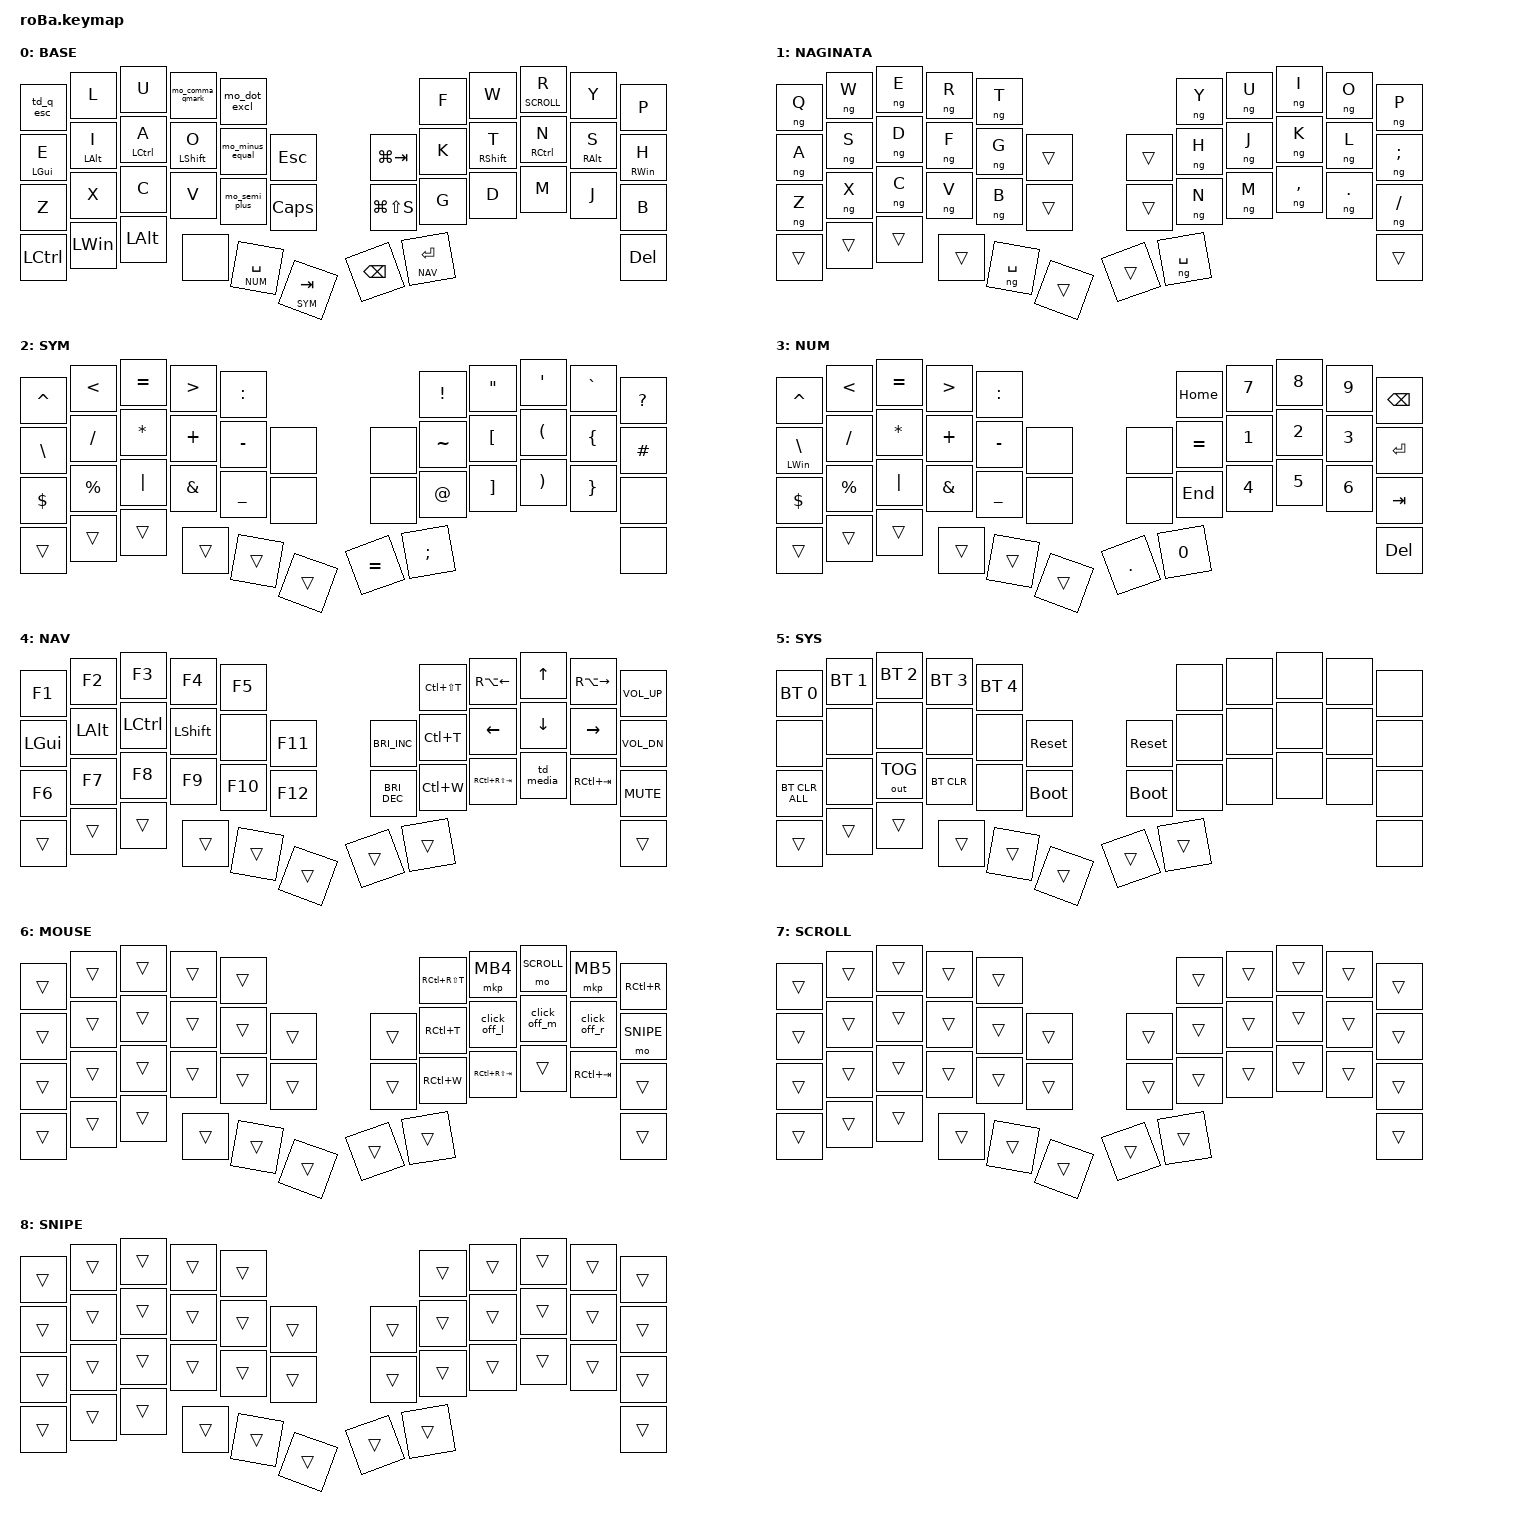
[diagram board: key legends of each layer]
#include <behaviors.dtsi>
#include <dt-bindings/zmk/bt.h>
#include <dt-bindings/zmk/keys.h>
#include <dt-bindings/zmk/outputs.h>
#include <dt-bindings/zmk/pointing.h>
#include <behaviors/naginata.dtsi>

#define BASE 0       // 大西配列。IME オフ（英数）専用
#define NAGINATA 1   // 薙刀式 v18。IME オン（かな）専用
#define SYM 2
#define NUM 3
#define NAV 4
#define SYS 5
#define MOUSE 6
#define SCROLL 7
#define SNIPE 8

// 薙刀式以外のレイヤー（薙刀式レイヤーでは J+K・C+V などが編集モードなので、既存のコンボを止める）
#define NON_NG 0 2 3 4 5 6 7 8

// ホームロウモッド用: 反対側の手のキー＋親指キーが押された時だけ hold（修飾キー）として扱う

#define KEYS_L 0 1 2 3 4 10 11 12 13 14 15 22 23 24 25 26 27 34 35 36
#define KEYS_R 5 6 7 8 9 16 17 18 19 20 21 28 29 30 31 32 33 42
#define THUMBS 37 38 39 40 41

// MOUSE レイヤーは roBa_R.overlay の zip_temp_layer で自動 ON になる（レイヤー番号もそちらに記載）。
// スクロールはドライバの scroll-layers で判定する。

&trackball {
    scroll-layers = <SCROLL>;
    snipe-layers = <SNIPE>;   // 精密モード: SNIPE 中はカーソルが遅くなる（roBa_R.conf の SNIPE_CPI）
};

/ {
    combos {
        compatible = "zmk,combos";

        // IME 切替は人差し指＋中指の同時押しだけ（左 A+O = 英数＝薙刀式オフ / 右 T+N = かな＝薙刀式オン）
        // 文字を打った直後 150ms は同時押しとして扱わない（require-prior-idle-ms）ので、"ao" "nt" を速く打っても誤爆しない
        // 英数は薙刀式レイヤーでも有効（同じ位置が qwerty の D+F なので、薙刀式の編集モード右 1 面は使えない）

        c_eisu {
            bindings = <&ng_off>;
            key-positions = <12 13>;   // 左: A + O
            timeout-ms = <50>;
            require-prior-idle-ms = <150>;
        };

        c_kana {
            bindings = <&ng_on>;
            key-positions = <18 19>;   // 右: T + N
            timeout-ms = <50>;
            require-prior-idle-ms = <150>;
            layers = <NON_NG>;
        };

        // 左手下段の隣り合った 2 キーで Undo / Copy / Paste（右手がボールの上にある時用）
        // zx / xc / cv はローマ字でも英語でもほぼ連続しないので誤爆しにくい
        // 両親指（Space + Enter）の同時押しで SYS（キーボード設定）。押している間だけ有効
        // Space は左手（BLE 経由で届く）、Enter は右手なので、左右の遅延を見込んで判定時間を長めにしている



        c_sys {
            bindings = <&mo SYS>;
            key-positions = <38 41>;
            timeout-ms = <150>;
        };

        c_undo {
            bindings = <&kp LC(Z)>;
            key-positions = <22 23>;   // Z + X
            timeout-ms = <40>;
            layers = <NON_NG>;
        };

        c_copy {
            bindings = <&kp LC(C)>;
            key-positions = <23 24>;   // X + C
            timeout-ms = <40>;
            layers = <NON_NG>;
        };

        c_paste {
            bindings = <&kp LC(V)>;
            key-positions = <24 25>;   // C + V
            timeout-ms = <40>;
            layers = <NON_NG>;
        };
    };

    behaviors {
        mouse_off: mouse_off {
            compatible = "zmk,behavior-toggle-layer";
            #binding-cells = <1>;
            toggle-mode = "off";
        };

        mo_comma_qmark: mo_comma_qmark {
            compatible = "zmk,behavior-mod-morph";
            label = "MO_COMMA_QMARK";
            bindings = <&kp COMMA>, <&kp QMARK>;

            #binding-cells = <0>;
            mods = <(MOD_LSFT|MOD_RSFT)>;
        };

        mo_dot_excl: mo_dot_excl {
            compatible = "zmk,behavior-mod-morph";
            label = "MO_DOT_EXCL";
            bindings = <&kp DOT>, <&kp EXCL>;

            #binding-cells = <0>;
            mods = <(MOD_LSFT|MOD_RSFT)>;
        };

        mo_minus_equal: mo_minus_equal {
            compatible = "zmk,behavior-mod-morph";
            label = "MO_MINUS_EQUAL";
            bindings = <&kp MINUS>, <&kp EQUAL>;

            #binding-cells = <0>;
            mods = <(MOD_LSFT|MOD_RSFT)>;
        };

        // BASE の記号の Shift: , → ?  . → !  - → =  ; → +

        mo_semi_plus: mo_semi_plus {
            compatible = "zmk,behavior-mod-morph";
            label = "MO_SEMI_PLUS";
            bindings = <&kp SEMI>, <&kp PLUS>;

            #binding-cells = <0>;
            mods = <(MOD_LSFT|MOD_RSFT)>;
        };

        mo_slash_bslh: mo_slash_bslh {
            compatible = "zmk,behavior-mod-morph";
            label = "MO_SLASH_BSLH";
            bindings = <&kp FSLH>, <&kp BSLH>;

            #binding-cells = <0>;
            mods = <(MOD_LSFT|MOD_RSFT)>;
        };

        // NAV: 1 回押し = 再生/停止 / 2 回押し = 次の曲 / 3 回押し = 前の曲

        td_media: td_media {
            compatible = "zmk,behavior-tap-dance";
            label = "TD_MEDIA";
            #binding-cells = <0>;
            tapping-term-ms = <250>;
            bindings = <&kp C_PP>, <&kp C_NEXT>, <&kp C_PREV>;
        };

        td_q_esc: td_q_esc {
            compatible = "zmk,behavior-tap-dance";
            label = "TD_Q_ESC";
            #binding-cells = <0>;
            bindings = <&kp Q>, <&kp ESC>;

            tapping-term-ms = <200>;
        };

        // ホームロウモッド（左手）。E=Win / I=Alt / A=Ctrl / O=Shift（NAV の左ホーム段と同じ）

        hml: hml {
            compatible = "zmk,behavior-hold-tap";
            label = "HML";
            #binding-cells = <2>;
            bindings = <&kp>, <&kp>;

            flavor = "balanced";
            tapping-term-ms = <280>;
            quick-tap-ms = <175>;
            require-prior-idle-ms = <150>;
            hold-trigger-key-positions = <KEYS_R THUMBS>;
            hold-trigger-on-release;
        };

        // ホームロウモッド（右手）。T=Shift / N=Ctrl / S=Alt / H=Win

        hmr: hmr {
            compatible = "zmk,behavior-hold-tap";
            label = "HMR";
            #binding-cells = <2>;
            bindings = <&kp>, <&kp>;

            flavor = "balanced";
            tapping-term-ms = <280>;
            quick-tap-ms = <175>;
            require-prior-idle-ms = <150>;
            hold-trigger-key-positions = <KEYS_L THUMBS>;
            hold-trigger-on-release;
        };

        // ホームロウモッド（右手）。T=Shift / N=Ctrl / S=Alt / H=Win
    };

    // 自動マウス: クリックを離して 250ms 後に MOUSE レイヤーを解除する
    // （クリック直後に打った文字が T=左クリック などにならないように。250ms 以内ならダブルクリック・ドラッグ可）
    // マクロは 1 本のキューで順に実行されるので、続けてクリックすると 2 回目は前の 250ms の後に出る

    macros {
        // 薙刀式オン / オフ: IME を切り替えて薙刀式レイヤーに入る / BASE に戻る

        ng_on: ng_on {
            compatible = "zmk,behavior-macro";
            #binding-cells = <0>;
            bindings = <&macro_tap &kp LANG1 &kp INT4 &to NAGINATA>;
        };

        ng_off: ng_off {
            compatible = "zmk,behavior-macro";
            #binding-cells = <0>;
            bindings = <&macro_tap &kp LANG2 &kp INT5 &to BASE>;
        };

        click_off_l: click_off_l {
            compatible = "zmk,behavior-macro";
            #binding-cells = <0>;
            wait-ms = <0>;
            tap-ms = <0>;
            bindings =
                <&macro_press>,
                <&mkp MB1>,
                <&macro_pause_for_release>,
                <&macro_wait_time 250>,
                <&macro_release>,
                <&mkp MB1>,
                <&macro_wait_time 0>,
                <&macro_tap>,
                <&mouse_off MOUSE>;
        };

        click_off_m: click_off_m {
            compatible = "zmk,behavior-macro";
            #binding-cells = <0>;
            wait-ms = <0>;
            tap-ms = <0>;
            bindings =
                <&macro_press>,
                <&mkp MB3>,
                <&macro_pause_for_release>,
                <&macro_wait_time 250>,
                <&macro_release>,
                <&mkp MB3>,
                <&macro_wait_time 0>,
                <&macro_tap>,
                <&mouse_off MOUSE>;
        };

        click_off_r: click_off_r {
            compatible = "zmk,behavior-macro";
            #binding-cells = <0>;
            wait-ms = <0>;
            tap-ms = <0>;
            bindings =
                <&macro_press>,
                <&mkp MB2>,
                <&macro_pause_for_release>,
                <&macro_wait_time 250>,
                <&macro_release>,
                <&mkp MB2>,
                <&macro_wait_time 0>,
                <&macro_tap>,
                <&mouse_off MOUSE>;
        };
    };

    keymap {
        compatible = "zmk,keymap";

        BASE {
            display-name = "BASE";
            bindings = <
&td_q_esc    &kp L         &kp U         &mo_comma_qmark  &mo_dot_excl                                   &kp F        &kp W          &lt SCROLL R  &kp Y             &kp P
&hml LGUI E  &hml LALT I   &hml LCTRL A  &hml LSHFT O     &mo_minus_equal  &kp ESC        &kp LG(TAB)    &kp K        &hmr RSHIFT T  &hmr RCTRL N  &hmr RIGHT_ALT S  &hmr RIGHT_WIN H
&kp Z        &kp X         &kp C         &kp V            &mo_semi_plus    &kp CLCK       &kp LG(LS(S))  &kp G        &kp D          &kp M         &kp J             &kp B
&kp LCTRL    &kp LEFT_WIN  &kp LEFT_ALT  &none            &lt NUM SPACE      &lt SYM TAB      &kp BSPC       &lt NAV ENTER                                                 &kp DEL
            >;
        };

        // 薙刀式 v18（qwerty の位置で 30 キー＋センターシフト。左右の親指とも Space 兼シフト）。それ以外のキーは BASE のまま

        NAGINATA {
            display-name = "NAGINATA";
            bindings = <
&ng Q   &ng W   &ng E   &ng R   &ng T                       &ng Y   &ng U      &ng I    &ng O   &ng P
&ng A   &ng S   &ng D   &ng F   &ng G   &trans      &trans  &ng H   &ng J      &ng K    &ng L   &ng SEMI
&ng Z   &ng X   &ng C   &ng V   &ng B   &trans      &trans  &ng N   &ng M      &ng COMMA  &ng DOT  &ng SLASH
&trans  &trans  &trans  &trans  &ng SPACE  &trans   &trans  &ng SPACE                              &trans
            >;
        };

        // SYM（左親指 Space 長押し）
        //   覚え方: 左手 = 演算子・計算、右手 = 括弧・引用符・その他。対になる記号は上が開き・下が閉じの縦並び（[ ] ( ) { } < >）
        //   , . - は BASE と同じ位置。親指 = : ;。右下の端は空き
        //   連打する記号（== ++ // ** && \\ ||）は人差し指と中指。!= <= >= += *= は = への内向きロール、(" (' も内向き

        SYM {
            display-name = "SYM";
            bindings = <
&kp CARET  &kp LT     &kp EQUAL  &kp GT    &kp COLON                         &kp EXCL   &kp DQT   &kp SQT   &kp GRAVE  &kp QMARK
&kp BSLH   &kp FSLH   &kp STAR   &kp PLUS  &kp MINUS  &none       &none      &kp TILDE  &kp LBKT  &kp LPAR  &kp LBRC   &kp HASH
&kp DLLR   &kp PRCNT  &kp PIPE   &kp AMPS  &kp UNDER  &none       &none      &kp AT     &kp RBKT  &kp RPAR  &kp RBRC   &none
&trans     &trans     &trans     &trans    &trans     &trans      &kp EQUAL  &kp SEMI                                  &none
            >;
        };

        // NUM（左親指 Tab 長押し）
        //   右手 = 数字（上段 7 8 9、ホーム段 1 2 3、下段 4 5 6、親指 0）と数字に付く記号（内側の列 ~ . ¥、親指 : は SYM と同じ位置）、小指に括弧の縦並び ( )
        //   左手 = SYM の左手とまったく同じ（演算子・計算記号）

        NUM {
            display-name = "NUM";
            bindings = <
&kp CARET       &kp LT     &kp EQUAL  &kp GT    &kp COLON                       &kp HOME   &kp N7  &kp N8  &kp N9  &kp BSPC
&hml LWIN BSLH  &kp FSLH   &kp STAR   &kp PLUS  &kp MINUS  &none       &none    &kp EQUAL  &kp N1  &kp N2  &kp N3  &kp ENTER
&kp DLLR        &kp PRCNT  &kp PIPE   &kp AMPS  &kp UNDER  &none       &none    &kp END    &kp N4  &kp N5  &kp N6  &kp TAB
&trans          &trans     &trans     &trans    &trans     &trans      &kp DOT  &kp N0                             &kp DEL
            >;
        };

        // NAV（右親指 Enter 長押し）
        //   右手: 矢印（逆T字）と Home/End、内側の列 = 輝度 +/-、小指 = 音量 +/- とミュート、下段 = 範囲スクショ・デスクトップ表示
        //   左手: 上段 F1〜F5、下段 F6〜F10、内側 F11/F12、ホームロウ = 修飾キー（E/I/A/O = Win/Alt/Ctrl/Shift）＋ Esc

        NAV {
            display-name = "NAV";
            bindings = <
&kp F1    &kp F2    &kp F3     &kp F4     &kp F5                                      &kp LC(LS(T))  &kp RA(LEFT)     &kp UP     &kp RA(RIGHT)  &kp C_VOL_UP
&kp LGUI  &kp LALT  &kp LCTRL  &kp LSHFT  &none    &kp F11      &kp C_BRIGHTNESS_INC  &kp LC(T)      &kp LEFT         &kp DOWN   &kp RIGHT      &kp C_VOL_DN
&kp F6    &kp F7    &kp F8     &kp F9     &kp F10  &kp F12      &kp C_BRIGHTNESS_DEC  &kp LC(W)      &kp RC(RS(TAB))  &td_media  &kp RC(TAB)    &kp C_MUTE
&trans    &trans    &trans     &trans     &trans   &trans       &trans                &trans                                                    &trans
            >;
        };

        // SYS（Space と Enter の同時押し）: キーボードの設定だけ
        //   左手上段 = BT 接続先 0〜4、左手下段 = 全 BT 解除（小指）/ USB・BT 切替（中指）/ BT 解除（人差し指）
        //   左右の内側の列: 中段 = 再起動、下段 = ブートローダ（押した側の半分にだけ効く）

        SYS {
            display-name = "SYS";
            bindings = <
&bt BT_SEL 0    &bt BT_SEL 1  &bt BT_SEL 2  &bt BT_SEL 3  &bt BT_SEL 4                                &none   &none  &none  &none  &none
&none           &none         &none         &none         &none         &sys_reset       &sys_reset   &none   &none  &none  &none  &none
&bt BT_CLR_ALL  &none         &out OUT_TOG  &bt BT_CLR    &none         &bootloader      &bootloader  &none   &none  &none  &none  &none
&trans          &trans        &trans        &trans        &trans        &trans           &trans       &trans                       &none
            >;
        };

        MOUSE {
            display-name = "MOUSE";
            bindings = <
&trans  &trans  &trans  &trans  &trans                      &kp RC(RS(T))  &mkp MB4         &mo SCROLL    &mkp MB5      &kp RC(R)
&trans  &trans  &trans  &trans  &trans  &trans      &trans  &kp RC(T)      &click_off_l     &click_off_m  &click_off_r  &mo SNIPE
&trans  &trans  &trans  &trans  &trans  &trans      &trans  &kp RC(W)      &kp RC(RS(TAB))  &trans        &kp RC(TAB)   &trans
&trans  &trans  &trans  &trans  &trans  &trans      &trans  &trans                                                      &trans
            >;
        };

        SCROLL {
            display-name = "SCROLL";
            bindings = <
&trans  &trans  &trans  &trans  &trans                      &trans  &trans  &trans  &trans  &trans
&trans  &trans  &trans  &trans  &trans  &trans      &trans  &trans  &trans  &trans  &trans  &trans
&trans  &trans  &trans  &trans  &trans  &trans      &trans  &trans  &trans  &trans  &trans  &trans
&trans  &trans  &trans  &trans  &trans  &trans      &trans  &trans                          &trans
            >;
        };

        SNIPE {
            display-name = "SNIPE";
            bindings = <
&trans  &trans  &trans  &trans  &trans                      &trans  &trans  &trans  &trans  &trans
&trans  &trans  &trans  &trans  &trans  &trans      &trans  &trans  &trans  &trans  &trans  &trans
&trans  &trans  &trans  &trans  &trans  &trans      &trans  &trans  &trans  &trans  &trans  &trans
&trans  &trans  &trans  &trans  &trans  &trans      &trans  &trans                          &trans
            >;
        };
    };
};
